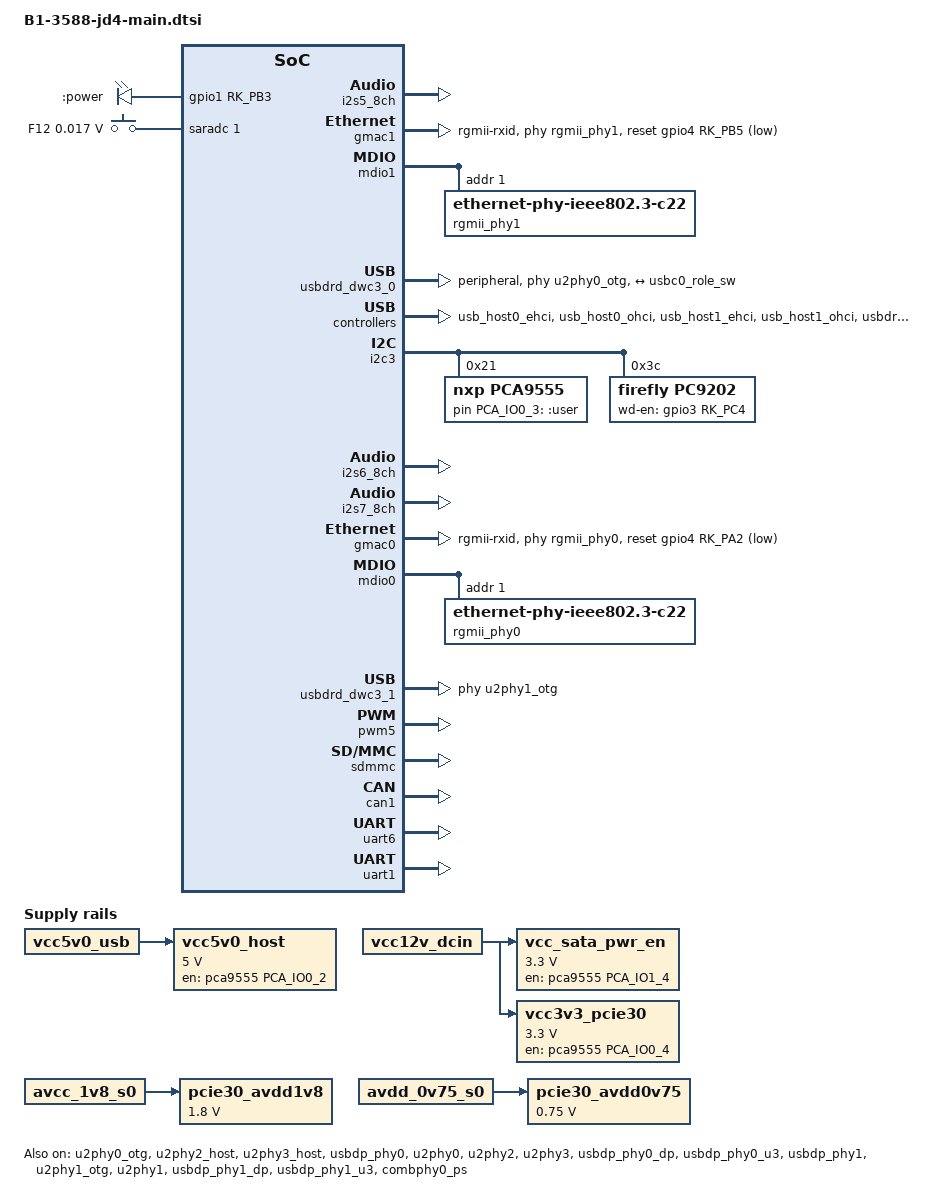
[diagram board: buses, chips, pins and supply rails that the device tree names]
// SPDX-License-Identifier: (GPL-2.0+ OR MIT)
/*
 * Copyright (c) 2021 Rockchip Electronics Co., Ltd.
 *
 */

#include "core-3588-jd4.dtsi"


 / {
/* led */
	firefly_leds: leds {
		pinctrl-names = "default";
		pinctrl-0 =<&leds_gpio>;
		power_led: power {
			gpios = <&gpio0 RK_PC4 GPIO_ACTIVE_HIGH>;//green led
            default-state = "on";
		};

		user_led: user {
			gpios = <&pca9555 PCA_IO0_3 GPIO_ACTIVE_HIGH>; //yellow led
            default-state = "off";
		};
	};
};



/ {
	firefly_leds: leds {
		compatible = "gpio-leds";
		status = "okay";
		power_led: power {
			label = ":power"; //green led
			linux,default-trigger = "ir-power-click";
			default-state = "on";
			gpios = <&gpio1 RK_PB3 GPIO_ACTIVE_HIGH>;
		};

		user_led: user {
			label = ":user"; //yellow led
			linux,default-trigger = "ir-user-click";
			default-state = "off";
			gpios = <&pca9555 PCA_IO0_3 GPIO_ACTIVE_HIGH>;
		};
	};


	adc_keys: adc-keys {
		status = "okay";
		compatible = "adc-keys";
		io-channels = <&saradc 1>;
		io-channel-names = "buttons";
		keyup-threshold-microvolt = <1800000>;
		poll-interval = <100>;

		recovery-key{
			label = "F12";
			linux,code = <KEY_F12>;
			press-threshold-microvolt = <17000>;
		};
	};


	vcc5v0_host: vcc5v0-host {
		compatible = "regulator-fixed";
		regulator-name = "vcc5v0_host";
		regulator-boot-on;
		regulator-always-on;
		regulator-min-microvolt = <5000000>;
		regulator-max-microvolt = <5000000>;
		enable-active-high;
		gpio = <&pca9555 PCA_IO0_5 GPIO_ACTIVE_HIGH>;
		vin-supply = <&vcc5v0_usb>;
		status = "disabled";
	};

	vcc_hub_reset: vcc-hub-reset-regulator {
		compatible = "regulator-fixed";
		regulator-name = "vcc_hub_reset";
		regulator-boot-on;
		regulator-always-on;
		enable-active-high;
		status = "disabled";
		gpio = <&pca9555 PCA_IO0_4 GPIO_ACTIVE_HIGH>;  //PCA_IO 04
	};

	vbus5v0_typec_pwr_en: vbus5v0-typec-pwr-en-regulator {
		compatible = "regulator-fixed";
		regulator-name = "vbus5v0_typec_pwr_en";
		enable-active-high;
		status = "disabled";
		gpio = <&pca9555 PCA_IO1_4 GPIO_ACTIVE_HIGH>;  //PCA_IO 14
	};
};

&i2s0_8ch {
	status = "disabled";
	pinctrl-0 = <&i2s0_lrck
				&i2s0_sclk
				&i2s0_sdi0
				&i2s0_sdo0>;
};

&i2s5_8ch {
	status = "okay";
};

&gmac1 {
	/* Use rgmii-rxid mode to disable rx delay inside Soc */
	phy-mode = "rgmii-rxid";
	clock_in_out = "output";

	snps,reset-gpio = <&gpio3 RK_PB7 GPIO_ACTIVE_LOW>;
	snps,reset-active-low;
	/* Reset time is 20ms, 100ms for rtl8211f */
	snps,reset-delays-us = <0 20000 100000>;

	pinctrl-names = "default";
	pinctrl-0 = <&gmac1_miim
			&gmac1_tx_bus2
			&gmac1_rx_bus2
			&gmac1_rgmii_clk
			&gmac1_rgmii_bus>;

	tx_delay = <0x42>;
	//rx_delay = <0x4f>;

	phy-handle = <&rgmii_phy1>;
	status = "disbaled";
};

&mdio1 {
	rgmii_phy1: phy@1 {
		compatible = "ethernet-phy-ieee802.3-c22";
		reg = <0x1>;
	};
};

&u2phy0_otg {
	rockchip,typec-vbus-det;
};

&u2phy2_host {
	phy-supply = <&vcc5v0_host>;
};

&u2phy3_host {
	phy-supply = <&vcc5v0_host>;
};

&usbdp_phy0 {
	orientation-switch;
	svid = <0xff01>;
	sbu1-dc-gpios = <&gpio4 RK_PA6 GPIO_ACTIVE_HIGH>;
	sbu2-dc-gpios = <&gpio4 RK_PA7 GPIO_ACTIVE_HIGH>;

	port {
		#address-cells = <1>;
		#size-cells = <0>;
		usbdp_phy0_orientation_switch: endpoint@0 {
			reg = <0>;
			remote-endpoint = <&usbc0_orien_sw>;
		};

		usbdp_phy0_dp_altmode_mux: endpoint@1 {
			reg = <1>;
			remote-endpoint = <&dp_altmode_mux>;
		};
	};
};

&usbdrd_dwc3_0 {
	dr_mode = "otg";
	usb-role-switch;
	port {
		#address-cells = <1>;
		#size-cells = <0>;
		dwc3_0_role_switch: endpoint@0 {
			reg = <0>;
			remote-endpoint = <&usbc0_role_sw>;
		};
	};
};

&usbhost3_0 {
	status = "disabled";
};

&usbhost_dwc3_0 {
	status = "disabled";
};

&u2phy0 {
	status = "okay";
};

&u2phy2 {
	status = "okay";
};

&u2phy3 {
	status = "okay";
};

&u2phy0_otg {
	status = "okay";
};

&u2phy2_host {
	status = "okay";
};

&u2phy3_host {
	status = "okay";
};

&usb_host0_ehci {
	status = "okay";
};

&usb_host0_ohci {
	status = "okay";
};

&usb_host1_ehci {
	status = "okay";
};

&usb_host1_ohci {
	status = "okay";
};

&usbdp_phy0 {
	status = "okay";
};

&usbdp_phy0_dp {
	status = "okay";
};

&usbdp_phy0_u3 {
	status = "okay";
};

&usbdrd3_0 {
	status = "okay";
};

&usbdrd_dwc3_0 {
	dr_mode = "otg";
	status = "okay";
};

&i2c3 {
	status = "okay";
	pinctrl-names = "default";
	pinctrl-0 = <&i2c3m2_xfer>;

	pca9555: gpio@21 {
		status = "okay";
		compatible = "nxp,pca9555";
		reg = <0x21>;
		gpio-controller;
		#gpio-cells = <2>;
		gpio-group-num = <200>;
	};
};




/ {
	vcc_hub3_reset: vcc-hub3-reset-regulator {
		compatible = "regulator-fixed";
		regulator-name = "vcc_hub3_reset";
		regulator-always-on;
		enable-active-high;
		status = "disabled";
		gpio = <&pca9555 PCA_IO0_6 GPIO_ACTIVE_HIGH>;  //PCA_IO 06
	};

	vcc5v0_host3: vcc5v0-host3 {
		compatible = "regulator-fixed";
		regulator-name = "vcc5v0_host3";
		regulator-boot-on;
		regulator-always-on;
		regulator-min-microvolt = <5000000>;
		regulator-max-microvolt = <5000000>;
		enable-active-high;
		gpio = <&pca9555 PCA_IO0_7 GPIO_ACTIVE_HIGH>;  //PCA_IO 07
		vin-supply = <&vcc5v0_usb>;
		status = "disabled";
	};

	vcc_sata_pwr_en: vcc-sata-pwr-en-regulator {
		compatible = "regulator-fixed";
		regulator-name = "vcc_sata_pwr_en";
		regulator-boot-on;
		regulator-always-on;
		enable-active-high;
		status = "disabled";
		gpio = <&pca9555 PCA_IO1_2 GPIO_ACTIVE_HIGH>;  //PCA_IO 12
	};

	vcc_fan_pwr_en: vcc-fan-pwr-en-regulator {
		compatible = "regulator-fixed";
		regulator-name = "vcc_fan_pwr_en";
		regulator-boot-on;
		regulator-always-on;
		enable-active-high;
		status = "disabled";
		gpio = <&pca9555 PCA_IO1_3 GPIO_ACTIVE_HIGH>;  //PCA_IO 13
	};

	vcc_sdcard_pwr_en: vcc-sdcard-pwr-en-regulator {
		compatible = "regulator-fixed";
		regulator-name = "vcc_sdcard_pwr_en";
		regulator-boot-on;
		regulator-always-on;
		enable-active-high;
		gpio = <&pca9555 PCA_IO1_5 GPIO_ACTIVE_HIGH>;  //PCA_IO 15
		status = "disabled";
	};

	vcc3v3_pcie30: vcc3v3-pcie30 {
		compatible = "regulator-fixed";
		regulator-name = "vcc3v3_pcie30";
		regulator-min-microvolt = <3300000>;
		regulator-max-microvolt = <3300000>;
		enable-active-high;
		gpios = <&gpio2 RK_PC5 GPIO_ACTIVE_HIGH>;
		startup-delay-us = <5000>;
		vin-supply = <&vcc12v_dcin>;
		status = "disabled";
	};

	pcie30_avdd1v8: pcie30-avdd1v8 {
		compatible = "regulator-fixed";
		regulator-name = "pcie30_avdd1v8";
		regulator-boot-on;
		regulator-always-on;
		regulator-min-microvolt = <1800000>;
		regulator-max-microvolt = <1800000>;
		vin-supply = <&avcc_1v8_s0>;
	};

	pcie30_avdd0v75: pcie30-avdd0v75 {
		compatible = "regulator-fixed";
		regulator-name = "pcie30_avdd0v75";
		regulator-boot-on;
		regulator-always-on;
		regulator-min-microvolt = <750000>;
		regulator-max-microvolt = <750000>;
		vin-supply = <&avdd_0v75_s0>;
	};

	wireless_bluetooth: wireless-bluetooth {
		compatible = "bluetooth-platdata";
		clocks = <&hym8563>;
		clock-names = "ext_clock";
		uart_rts_gpios = <&gpio1 RK_PA2 GPIO_ACTIVE_LOW>;
		pinctrl-names = "default", "rts_gpio";
		pinctrl-0 = <&uart6m1_rtsn>,  <&bt_reset_gpio>, <&bt_wake_gpio>, <&bt_irq_gpio>;
		pinctrl-1 = <&uart6_gpios>;
		BT,power_gpio    = <&gpio0 RK_PC6 GPIO_ACTIVE_HIGH>;
		BT,wake_gpio     = <&gpio0 RK_PC5 GPIO_ACTIVE_HIGH>;
		BT,wake_host_irq = <&gpio0 RK_PA0 GPIO_ACTIVE_HIGH>;
		status = "disabled";
	};

	wireless_wlan: wireless-wlan {
		compatible = "wlan-platdata";
		wifi_chip_type = "ap6275p";
		pinctrl-names = "default";
		pinctrl-0 = <&wifi_host_wake_irq>, <&wifi_poweren_gpio>;
		WIFI,host_wake_irq = <&gpio0 RK_PB2 GPIO_ACTIVE_HIGH>;
		WIFI,poweren_gpio = <&gpio0 RK_PC4 GPIO_ACTIVE_HIGH>;
		status = "disabled";
	};

	/* If hdmirx node is disabled, delete the reserved-memory node here. */
	reserved-memory {
		#address-cells = <2>;
		#size-cells = <2>;
		ranges;

		/* Reserve 256MB memory for hdmirx-controller@fdee0000 */
		cma {
			compatible = "shared-dma-pool";
			reusable;
			reg = <0x0 (256 * 0x100000) 0x0 (256 * 0x100000)>;
			linux,cma-default;
		};
	};
};

&i2s6_8ch {
	status = "okay";
};

&i2s7_8ch {
	status = "okay";
};

&usbdp_phy1 {
	rockchip,dp-lane-mux = <2 3>;
	status = "disabled";
};

&gmac0 {
	/* Use rgmii-rxid mode to disable rx delay inside Soc */
	phy-mode = "rgmii-rxid";
	clock_in_out = "output";

	snps,reset-gpio = <&gpio3 RK_PC7 GPIO_ACTIVE_LOW>;
	snps,reset-active-low;
	/* Reset time is 20ms, 100ms for rtl8211f */
	snps,reset-delays-us = <0 20000 100000>;

	pinctrl-names = "default";
	pinctrl-0 = <&gmac0_miim
			&gmac0_tx_bus2
			&gmac0_rx_bus2
			&gmac0_rgmii_clk
			&gmac0_rgmii_bus>;

	tx_delay = <0x45>;
	//rx_delay = <0x4a>;

	phy-handle = <&rgmii_phy0>;
	status = "disbaled";
};

&mdio0 {
	rgmii_phy0: phy@1 {
		compatible = "ethernet-phy-ieee802.3-c22";
		reg = <0x1>;
	};
};

&u2phy1_otg {
	phy-supply = <&vcc5v0_host>;
};

&u2phy1 {
	status = "okay";
};

&u2phy1_otg {
	status = "okay";
};

&usbdp_phy1 {
	status = "okay";
};

&usbdp_phy1_dp {
	status = "okay";
};

&usbdp_phy1_u3 {
	status = "okay";
};

&usbdrd3_1 {
	status = "okay";
};

&usbdrd_dwc3_1 {
	status = "okay";
};

&i2c6 {
	status = "disabled";
	pinctrl-names = "default";
	pinctrl-0 = <&i2c6m0_xfer>;

	usbc0: fusb302@22 {
		compatible = "fcs,fusb302";
		reg = <0x22>;
		interrupt-parent = <&gpio0>;
		interrupts = <RK_PD3 IRQ_TYPE_LEVEL_LOW>;
		pinctrl-names = "default";
		pinctrl-0 = <&usbc0_int>;
		vbus-supply = <&vbus5v0_typec_pwr_en>;
		status = "disabled";

		ports {
			#address-cells = <1>;
			#size-cells = <0>;

			port@0 {
				reg = <0>;
				usbc0_role_sw: endpoint@0 {
					remote-endpoint = <&dwc3_0_role_switch>;
				};
			};
		};

		usb_con: connector {
			compatible = "usb-c-connector";
			label = "USB-C";
			data-role = "dual";
			power-role = "dual";
			try-power-role = "sink";
			op-sink-microwatt = <1000000>;
			sink-pdos =
				<PDO_FIXED(5000, 1000, PDO_FIXED_USB_COMM)>;
			source-pdos =
				<PDO_FIXED(5000, 3000, PDO_FIXED_USB_COMM)>;

			altmodes {
				#address-cells = <1>;
				#size-cells = <0>;

				altmode@0 {
					reg = <0>;
					svid = <0xff01>;
					vdo = <0xffffffff>;
				};
			};

			ports {
				#address-cells = <1>;
				#size-cells = <0>;

				port@0 {
					reg = <0>;
					usbc0_orien_sw: endpoint {
						remote-endpoint = <&usbdp_phy0_orientation_switch>;
					};
				};

				port@1 {
					reg = <1>;
					dp_altmode_mux: endpoint {
						remote-endpoint = <&usbdp_phy0_dp_altmode_mux>;
					};
				};
			};
		};
	};
};

// /* gamc0 */
&gmac0 {
	/* Use rgmii-rxid mode to disable rx delay inside Soc */
	phy-mode = "rgmii-rxid";
	clock_in_out = "output";

	snps,reset-gpio = <&gpio4 RK_PA2 GPIO_ACTIVE_LOW>;
	snps,reset-active-low;
	/* Reset time is 20ms, 100ms for rtl8211f */
	snps,reset-delays-us = <0 20000 100000>;

	pinctrl-names = "default";
	pinctrl-0 = <&gmac0_miim
			&gmac0_tx_bus2
			&gmac0_rx_bus2
			&gmac0_rgmii_clk
			&gmac0_rgmii_bus>;

	tx_delay = <0x45>;
	//rx_delay = <0x4a>;

	phy-handle = <&rgmii_phy0>;
	status = "okay";
};

&gmac0_tx_bus2{
    rockchip,pins =
    /* gmac0_txd0 */
    <2 RK_PB6 1 &pcfg_pull_up_drv_level_6>,
    /* gmac0_txd1 */
    <2 RK_PB7 1 &pcfg_pull_up_drv_level_6>,
    /* gmac0_txen */
    <2 RK_PC0 1 &pcfg_pull_none>;
};

&gmac0_rgmii_bus{
	rockchip,pins =
	/* gmac0_rxd2 */
	<2 RK_PA6 1 &pcfg_pull_none>,
	/* gmac0_rxd3 */
	<2 RK_PA7 1 &pcfg_pull_none>,
	/* gmac0_txd2 */
	<2 RK_PB1 1 &pcfg_pull_up_drv_level_6>,
	/* gmac0_txd3 */
	<2 RK_PB2 1 &pcfg_pull_up_drv_level_6>;
};

/* gmac1 */
&gmac1 {
	snps,reset-gpio = <&gpio4 RK_PB5 GPIO_ACTIVE_LOW>;
	tx_delay = <0x45>;
	status = "okay";
};

&gmac1_tx_bus2{
	rockchip,pins =
	/* gmac1_txd0 */
	<3 RK_PB3 1 &pcfg_pull_up_drv_level_6>,
    /* gmac1_txd1 */
	<3 RK_PB4 1 &pcfg_pull_up_drv_level_6>,
	/* gmac1_txen */
	<3 RK_PB5 1 &pcfg_pull_none>;
};

&gmac1_rgmii_bus{
	rockchip,pins =
	/* gmac1_rxd2 */
	<3 RK_PA2 1 &pcfg_pull_none>,
	/* gmac1_rxd3 */
	<3 RK_PA3 1 &pcfg_pull_none>,
	/* gmac1_txd2 */
	<3 RK_PA0 1 &pcfg_pull_up_drv_level_6>,
	/* gmac1_txd3 */
	<3 RK_PA1 1 &pcfg_pull_up_drv_level_6>;
};


&pwm5 {
	pinctrl-0 = <&pwm5m1_pins>;
	status = "okay";
};


/* tf-card */
&sdmmc {
	status = "okay";
};

// &vcc_sdcard_pwr_en{
// 	status = "disabled";
// };

/* usb */
&vcc5v0_host{
	status = "okay";
	gpio = <&pca9555 PCA_IO0_2 GPIO_ACTIVE_HIGH>;
};



// type-c0


&usbdrd3_0 {
	status = "okay";
};

// 双层USB的下面 // type-c0
// usb@fc000000
&usbdrd_dwc3_0{
	//dr_mode = "host";"peripheral";
	dr_mode = "peripheral";
	phys = <&u2phy0_otg>, <&usbdp_phy0_u3>;
    status = "okay";
};

&mdio0 {
	rgmii_phy0: phy@1 {
		compatible = "ethernet-phy-ieee802.3-c22";
		reg = <0x1>;
	};
};


// &dwc3_0_role_switch {
// 	/delete-property/ remote-endpoint;
// };

// &usbdp_phy0_orientation_switch {
// 	/delete-property/ remote-endpoint;
// };
// &usbdp_phy0_dp_altmode_mux {
// 	/delete-property/ remote-endpoint;
// };





&u2phy0_otg {
    status = "okay";
};


&usbdp_phy0_u3 {
	status = "okay";
};



// --------------

// &usbdrd3_1 {
// 	status = "okay";
// };


// //上面
&usbdrd_dwc3_1 {
	// dr_mode = "host";
	phys = <&u2phy1_otg>, <&usbdp_phy1_u3>;
    status = "okay";
};

&u2phy1_otg {
	/delete-property/ phy-supply;
    status = "okay";
};

// &usbdp_phy1_u3 {
//     status = "okay";
// };


&u2phy2_host {
        // phy-supply = <&USB30_HUB_RST>;
        /delete-property/ phy-supply;
        status = "okay";
};


&u2phy3_host {
        // phy-supply = <&USB30_HUB_RST>;
        /delete-property/ phy-supply;
        status = "okay";
};

/* XL9555*/

// &i2c6 {
// 	/delete-node/ pca9555;
// };

&i2c3 {
	status = "okay";
	pinctrl-names = "default";
	pinctrl-0 = <&i2c3m2_xfer>;
		// clock-frequency = <400000>;

	pca9555: gpio@21 {
		status = "okay";
		compatible = "nxp,pca9555";
		reg = <0x21>;
		gpio-controller;
		#gpio-cells = <2>;
		gpio-group-num = <200>;
	};

	pc9202: pc9202@3c {
		status = "okay";
		compatible = "firefly,pc9202";
		reg = <0x3c>;
		wd-en-gpio = <&gpio3 RK_PC4 GPIO_ACTIVE_HIGH>;         // GPIO3_C4
		pinctrl-names = "default";
		pinctrl-0 = <&wdt_ctl>;
		driver-names = "wdtdiban";
	};
};

// #if M2_SATA_OR_PCIE
// &sata0 {
//     //pinctrl-names = "default";
//     //pinctrl-0 = <&sata_reset>;
// 	status = "okay";
// };
// #else
// &pcie2x1l2 {
// 	reset-gpios = <&gpio4 RK_PC1 GPIO_ACTIVE_HIGH>;
// 	vpcie3v3-supply = <&vcc_sata_pwr_en>;
// 	status = "okay";
// };
// #endif

&vcc_sata_pwr_en{
	status = "okay";
	gpio = <&pca9555 PCA_IO1_4 GPIO_ACTIVE_HIGH>;  //PCA_IO 14
	regulator-min-microvolt = <3300000>;
	regulator-max-microvolt = <3300000>;
	regulator-always-on;
	enable-active-high;
	startup-delay-us = <5000>;
	vin-supply = <&vcc12v_dcin>;
};

&combphy0_ps{
	status = "okay";
};

/* can1 */
&can1 {
	status = "okay";
	assigned-clocks = <&cru CLK_CAN1>;
	assigned-clock-rates = <200000000>;
	pinctrl-names = "default";
	pinctrl-0 = <&can1m1_pins>;
};

/* RS485 */
&uart6{
	pinctrl-0 = <&uart6m1_xfer>;
	status = "okay";
};

/* RS232 */
&uart1{
	pinctrl-0 = <&uart1m1_xfer>;
	status = "okay";
};


&vcc3v3_pcie30{
	gpios = <&pca9555 PCA_IO0_4 GPIO_ACTIVE_HIGH>;
	startup-delay-us = <5000>;
	status = "okay";
};

&wireless_wlan{
        wifi_chip_type = "rtl8822ce";
		/delete-property/ WIFI,poweren_gpio;
		WIFI,host_wake_irq = <&pca9555 PCA_IO1_2 GPIO_ACTIVE_HIGH>;
        status = "disabled";
};



/* pinctrl */
&pinctrl {

	watchdog {
		wdt_ctl: wdt-ctl {
				rockchip,pins =
				<3 RK_PC4 RK_FUNC_GPIO &pcfg_pull_none>;            //GPIO3_C4
		};
	};

    leds {
		leds_gpio: leds-gpio {
			/* led_power */
			rockchip,pins = <0 20 RK_FUNC_GPIO &pcfg_pull_none>;
		};
 	};

	pcie {
		pcieclk_gpio: pcieclk-gpio {
			/* led_power */
			rockchip,pins = <3 22 RK_FUNC_GPIO &pcfg_pull_down>,
							<3 21 RK_FUNC_GPIO &pcfg_pull_down>,
							<4 14 RK_FUNC_GPIO &pcfg_pull_down>;

		};
 	};

	headphone {
		hp_det: hp-det {
			rockchip,pins = <2 RK_PC3 RK_FUNC_GPIO &pcfg_pull_none>;
		};
	};

 	hym8563 {
		hym8563_int: hym8563-int {
			rockchip,pins = <0 RK_PB0 RK_FUNC_GPIO &pcfg_pull_none>;
		};
	};

	usb-typec {
		usbc0_int: usbc0-int {
			rockchip,pins = <0 RK_PD3 RK_FUNC_GPIO &pcfg_pull_none>;
		};
	};


	wireless-bluetooth {
		uart6_gpios: uart6-gpios {
			rockchip,pins = <1 RK_PA2 RK_FUNC_GPIO &pcfg_pull_none>;
		};

		bt_reset_gpio: bt-reset-gpio {
			rockchip,pins = <0 RK_PC6 RK_FUNC_GPIO &pcfg_pull_none>;
		};

		bt_wake_gpio: bt-wake-gpio {
			rockchip,pins = <0 RK_PC5 RK_FUNC_GPIO &pcfg_pull_none>;
		};

		bt_irq_gpio: bt-irq-gpio {
			rockchip,pins = <0 RK_PA0 RK_FUNC_GPIO &pcfg_pull_none>;
		};
	};

	wireless-wlan {
		wifi_host_wake_irq: wifi-host-wake-irq {
			rockchip,pins = <0 RK_PB2 RK_FUNC_GPIO &pcfg_pull_none>;
		};

		wifi_poweren_gpio: wifi-poweren-gpio {
			rockchip,pins = <0 RK_PC4 RK_FUNC_GPIO &pcfg_pull_none>;
		};
	};

	sata {
		sata_reset:sata-reset{
			rockchip,pins = <4 RK_PC1 RK_FUNC_GPIO &pcfg_pull_none>;
		};
	};

};
